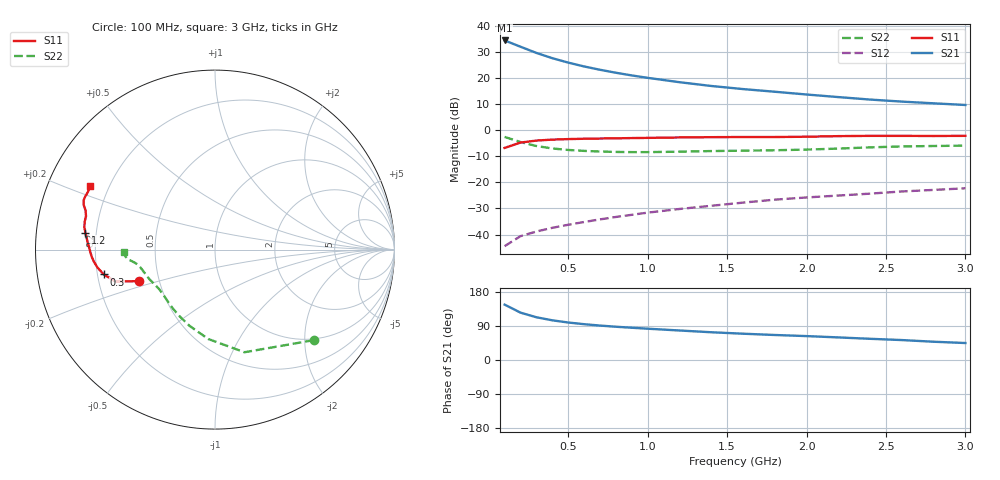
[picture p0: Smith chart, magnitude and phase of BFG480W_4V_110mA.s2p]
! Filename: 4110BFG480.001
! Title: BFG480W
! Bias: Vce=4V; Ic=110mA
! Company: Philips Semiconductors NL
! User: Quality&Reliability T&D
! Measure time: 10 Nov 1999 / 12:04:13
#  MHz  S  MA  R 50
! Freq  S11  S21  S12  S22  :
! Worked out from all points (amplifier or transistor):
!   20 points, 100 MHz to 3 GHz, reference 50 ohm
!   highest |S21| = 34.5 dB at 100 MHz (marker M1)
!   |S21| within 3 dB of that: start of sweep to 225.2 MHz
!   unconditionally stable (mu >= 1): 679.1 MHz to end of sweep
!   at 400 MHz: K = 0.84, MSG = 32.5 dB, |S12| = -37.4 dB
!   at 1.2 GHz: K = 1.08, MAG = 22.6 dB, |S12| = -30.2 dB
!   at 3 GHz: K = 1.05, MAG = 14.6 dB, |S12| = -22.2 dB
!   S11 on the Smith chart (normalised r, x): 100 MHz: 0.38, -0.17; 300 MHz: 0.23, -0.10; 1.2 GHz: 0.16, +0.06; 3 GHz: 0.13, +0.24
100  0.4591 -157.5  52.82 146.1  0.00599 68.9  0.7461 -42.6
200  0.5815 -162.2  40.04 125.0  0.009324 60.6  0.5951 -74.0
300  0.6352 -167.4  30.5 112.8  0.01143 60.1  0.4994 -94.4
400  0.6621 -171.3  24.16 104.8  0.01347 62.3  0.448 -108.4
500  0.6778 -174.3  19.87 99.0  0.01542 64.4  0.4196 -118.5
600  0.688 -176.7  16.76 94.5  0.0174 66.3  0.4026 -126.0
700  0.695 -178.9  14.48 90.9  0.01953 68.3  0.3914 -131.8
800  0.7011 179.1  12.7 87.8  0.02175 70.1  0.3845 -136.6
900  0.7088 177.3  11.28 85.1  0.02391 71.8  0.3812 -140.8
1000  0.7149 175.6  10.14 82.6  0.02634 72.7  0.3811 -144.5
1200  0.7284 172.6  8.363 77.9  0.03095 74.2  0.3886 -150.5
1400  0.7379 170.4  7.078 73.2  0.03564 75.0  0.3995 -155.0
1600  0.7426 168.1  6.172 69.4  0.04098 75.7  0.4061 -158.4
1800  0.7423 165.5  5.486 66.0  0.0467 76.2  0.414 -162.0
2000  0.7524 163.3  4.855 63.1  0.05151 76.7  0.4262 -166.3
2200  0.7724 161.2  4.333 59.6  0.05597 76.6  0.4457 -170.0
2400  0.7818 159.5  3.883 55.9  0.06094 76.0  0.4703 -172.3
2600  0.7813 157.8  3.549 52.6  0.06712 75.3  0.49 -173.7
2800  0.7774 155.6  3.29 48.2  0.07183 73.9  0.4995 -175.5
3000  0.7822 152.9  3.055 44.8  0.07722 73.1  0.5076 -178.3
